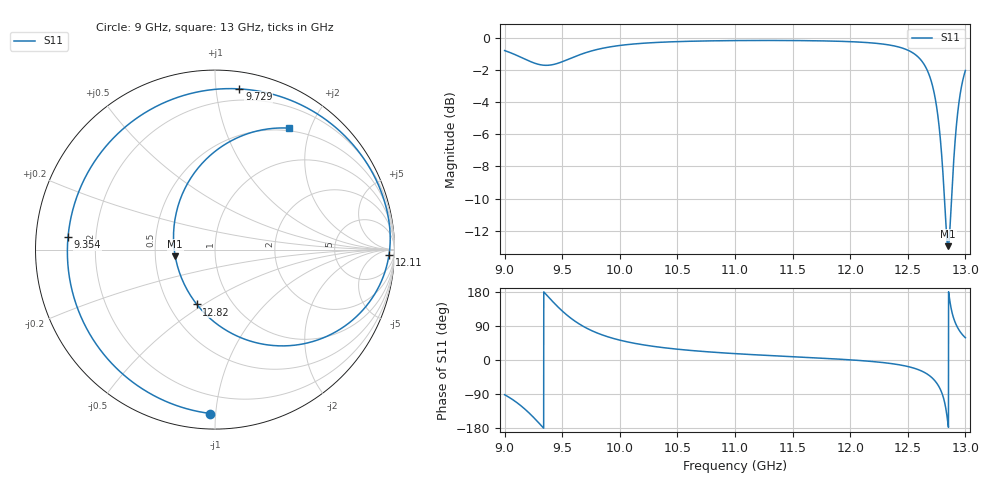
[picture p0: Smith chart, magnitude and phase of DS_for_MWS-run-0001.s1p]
! TOUCHSTONE file generated by CST DESIGN STUDIO
! Date and time: Tue Feb  4 17:13:49 2025
! Project name: C:\Work\MatlabApps\UnitCellOptimizationMatlab\CST\unitcell.cst
! Tree item: Tasks\Sweep1\SPara1\S-Parameters
! Header version: 2024
! Port assignment regex: !\s*Touchstone port\s*([0-9]+)\s*=\s*(CST MWS port|CST DES external port|CST DES block port)\s*(.+)\s* \(\"(.*)\"\)(\s*mode\s*([0-9]+))?.*
! Touchstone port assignment:
! Touchstone port 1 = CST DES external port 1 ("")
# GHz S MA R 50
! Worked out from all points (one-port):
!   4001 points, 9 GHz to 13 GHz, reference 50 ohm
!   lowest |S11| = -13.0 dB at 12.85 GHz (marker M1), VSWR 1.58, Z = 31.8 - j2.47 ohm
!   |S11| at or under -10 dB: 12.81817 GHz to 12.87985 GHz (61.69 MHz wide, 0.48 % of centre)
!   S11 on the Smith chart (normalised r, x): 9 GHz: 0.09, -0.97; 9.354 GHz: 0.10, +0.04; 9.729 GHz: 0.12, +1.16; 12.11 GHz: 30, -32; 12.82 GHz: 0.69, -0.47; 13 GHz: 0.46, +1.68
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9  0.9136 -91.6
9.091  0.8873 -109.0
9.173  0.8604 -128.8
9.271  0.8322 -157.7
9.354  0.8219 175.0
9.421  0.8263 153.1
9.5  0.8433 129.4
9.604  0.8732 103.9
9.729  0.9057 81.4
9.856  0.9296 65.3
10  0.9477 52.4
10.216  0.9635 39.4
10.5  0.9742 28.5
11  0.9813 16.8
11.5  0.9817 8.7
12  0.9738 0.4
12.108  0.9695 -1.9
12.5  0.9162 -17.2
12.602  0.8636 -26.7
12.678  0.7796 -39.0
12.76  0.5762 -65.0
12.789  0.4559 -81.8
12.817  0.3217 -108.3
12.85  0.2248 -170.6
12.883  0.3322 126.7
12.924  0.5437 90.4
12.958  0.6801 73.1
13  0.792 58.7
